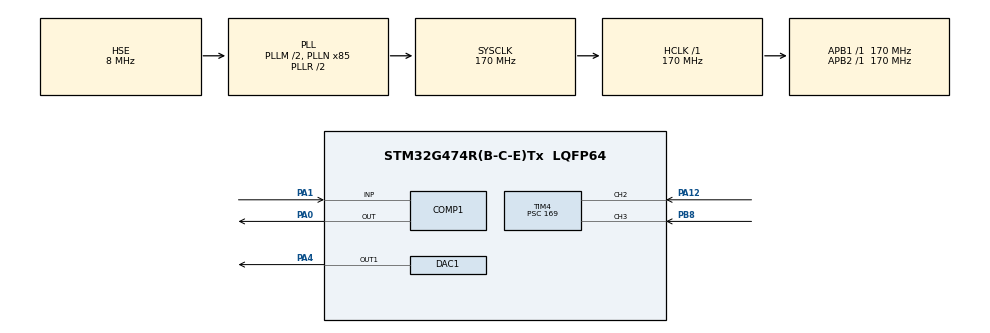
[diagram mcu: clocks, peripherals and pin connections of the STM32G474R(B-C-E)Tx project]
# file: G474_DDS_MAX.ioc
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COMP1.Hysteresis=COMP_HYSTERESIS_70MV
COMP1.OutputPol=COMP_OUTPUTPOL_NONINVERTED
COMP1.TriggerMode=COMP_TRIGGERMODE_EVENT_RISING
DAC1.DAC_Trigger_OUT1-DAC_OUT1=DAC_TRIGGER_T2_TRGO
Dma.DAC1_CH1.0.Direction=DMA_MEMORY_TO_PERIPH
Dma.DAC1_CH1.0.EventEnable=DISABLE
Dma.DAC1_CH1.0.Instance=DMA1_Channel1
Dma.DAC1_CH1.0.MemDataAlignment=DMA_MDATAALIGN_HALFWORD
Dma.DAC1_CH1.0.MemInc=DMA_MINC_ENABLE
Dma.DAC1_CH1.0.Mode=DMA_CIRCULAR
Dma.DAC1_CH1.0.PeriphDataAlignment=DMA_PDATAALIGN_WORD
Dma.DAC1_CH1.0.PeriphInc=DMA_PINC_DISABLE
Dma.DAC1_CH1.0.Polarity=HAL_DMAMUX_REQ_GEN_RISING
Dma.DAC1_CH1.0.Priority=DMA_PRIORITY_LOW
Dma.DAC1_CH1.0.RequestNumber=1
Dma.DAC1_CH1.0.SignalID=NONE
Dma.DAC1_CH1.0.SyncEnable=DISABLE
Dma.DAC1_CH1.0.SyncPolarity=HAL_DMAMUX_SYNC_NO_EVENT
Dma.DAC1_CH1.0.SyncRequestNumber=1
Dma.DAC1_CH1.0.SyncSignalID=NONE
Dma.Request0=DAC1_CH1
Mcu.Family=STM32G4
Mcu.Name=STM32G474R(B-C-E)Tx
Mcu.Package=LQFP64
NVIC.DMA1_Channel1_IRQn=true\:0\:0\:false\:false\:true\:false\:true\:true
NVIC.PriorityGroup=NVIC_PRIORITYGROUP_4
NVIC.TIM4_IRQn=true\:0\:0\:false\:false\:true\:true\:true\:true
PA0.Mode=ExternalOutput
PA0.Signal=COMP1_OUT
PA1.Mode=INP
PA1.Signal=COMP1_INP
PA12.Signal=S_TIM4_CH2
PA13.Mode=Serial_Wire
PA13.Signal=SYS_JTMS-SWDIO
PA14.Mode=Serial_Wire
PA14.Signal=SYS_JTCK-SWCLK
PA4.Signal=COMP_DAC11_group
PB8-BOOT0.Signal=S_TIM4_CH3
PF0-OSC_IN.Mode=HSE-External-Oscillator
PF0-OSC_IN.Signal=RCC_OSC_IN
PF1-OSC_OUT.Mode=HSE-External-Oscillator
PF1-OSC_OUT.Signal=RCC_OSC_OUT
ProjectManager.HeapSize=0x200
ProjectManager.StackSize=0x400
ProjectManager.TargetToolchain=MDK-ARM V5.32
RCC.ADC12Freq_Value=170000000
RCC.ADC345Freq_Value=170000000
RCC.AHBFreq_Value=170000000
RCC.APB1Freq_Value=170000000
RCC.APB1TimFreq_Value=170000000
RCC.APB2Freq_Value=170000000
RCC.APB2TimFreq_Value=170000000
RCC.CortexFreq_Value=170000000
RCC.EXTERNAL_CLOCK_VALUE=12288000
RCC.HCLKFreq_Value=170000000
RCC.HSE_VALUE=8000000
RCC.HSI48_VALUE=48000000
RCC.HSI_VALUE=16000000
RCC.LSE_VALUE=32768
RCC.PLLM=RCC_PLLM_DIV2
RCC.PLLN=85
RCC.PLLSourceVirtual=RCC_PLLSOURCE_HSE
RCC.SYSCLKFreq_VALUE=170000000
RCC.SYSCLKSource=RCC_SYSCLKSOURCE_PLLCLK
RCC.USBFreq_Value=170000000
RCC.VCOOutputFreq_Value=340000000
SH.COMP_DAC11_group.0=DAC1_OUT1,DAC_OUT1
SH.S_TIM4_CH2.0=TIM4_CH2,Input_Capture2_from_TI2
SH.S_TIM4_CH3.0=TIM4_CH3,Input_Capture3_from_TI3
TIM2.PeriodNoDither=9
TIM2.Prescaler=169
TIM2.TIM_MasterOutputTrigger=TIM_TRGO_UPDATE
TIM4.Channel-Input_Capture2_from_TI2=TIM_CHANNEL_2
TIM4.Channel-Input_Capture3_from_TI3=TIM_CHANNEL_3
TIM4.ICFilter_CH3=10
TIM4.ICPrescaler-Input_Capture3_from_TI3=TIM_ICPSC_DIV1
TIM4.Prescaler=169
VP_COMP1_VS_VREFINT.Mode=VREFINT
VP_DAC3_VS_DACI1.Mode=DAC_OUT1_Int
VP_SYS_VS_DBSignals.Mode=DisableDeadBatterySignals
VP_TIM2_VS_ClockSourceINT.Mode=Internal
VP_TIM4_VS_ClockSourceINT.Mode=Internal
board=custom

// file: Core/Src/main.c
/* USER CODE BEGIN Header */
/**
  ******************************************************************************
  * @file           : main.c
  * @brief          : Main program body
  ******************************************************************************
  * @attention
  *
  * Copyright (c) 2026 STMicroelectronics.
  * All rights reserved.
  *
  * This software is licensed under terms that can be found in the LICENSE file
  * in the root directory of this software component.
  * If no LICENSE file comes with this software, it is provided AS-IS.
  *
  ******************************************************************************
  */
/* USER CODE END Header */
#include "main.h"
#include "comp.h"
#include "dac.h"
#include "dma.h"
#include "tim.h"
#include "gpio.h"

/* USER CODE BEGIN Includes */
#include "ddac.h"
/* USER CODE END Includes */

/* USER CODE BEGIN PV */
uint32_t tick = 0;

/* USER CODE END PV */

void SystemClock_Config(void);

int main(void)
{

  /* MCU Configuration--------------------------------------------------------*/

  /* Reset of all peripherals, Initializes the Flash interface and the Systick. */
  HAL_Init();

  /* Configure the system clock */
  SystemClock_Config();

  /* Initialize all configured peripherals */
  MX_GPIO_Init();
  MX_DMA_Init();
  MX_DAC1_Init();
  MX_TIM2_Init();
  MX_TIM4_Init();
  MX_COMP1_Init();
  MX_DAC3_Init();
  /* USER CODE BEGIN 2 */
    HAL_COMP_Start(&hcomp1);
    DDS_Init(&dds_handler);
	DDS_Start(&dds_handler);
	__HAL_TIM_DISABLE_IT(&htim4, TIM_IT_UPDATE);
	HAL_TIM_IC_Start_IT(&htim4, TIM_CHANNEL_3);
  /* USER CODE END 2 */

  /* Infinite loop */
  while (1)
  {

  }
}

void SystemClock_Config(void)
{
  RCC_OscInitTypeDef RCC_OscInitStruct = {0};
  RCC_ClkInitTypeDef RCC_ClkInitStruct = {0};

  /** Configure the main internal regulator output voltage
  */
  HAL_PWREx_ControlVoltageScaling(PWR_REGULATOR_VOLTAGE_SCALE1_BOOST);

  /** Initializes the RCC Oscillators according to the specified parameters
  * in the RCC_OscInitTypeDef structure.
  */
  RCC_OscInitStruct.OscillatorType = RCC_OSCILLATORTYPE_HSE;
  RCC_OscInitStruct.HSEState = RCC_HSE_ON;
  RCC_OscInitStruct.PLL.PLLState = RCC_PLL_ON;
  RCC_OscInitStruct.PLL.PLLSource = RCC_PLLSOURCE_HSE;
  RCC_OscInitStruct.PLL.PLLM = RCC_PLLM_DIV2;
  RCC_OscInitStruct.PLL.PLLN = 85;
  RCC_OscInitStruct.PLL.PLLP = RCC_PLLP_DIV2;
  RCC_OscInitStruct.PLL.PLLQ = RCC_PLLQ_DIV2;
  RCC_OscInitStruct.PLL.PLLR = RCC_PLLR_DIV2;
  if (HAL_RCC_OscConfig(&RCC_OscInitStruct) != HAL_OK)
  {
    Error_Handler();
  }

  /** Initializes the CPU, AHB and APB buses clocks
  */
  RCC_ClkInitStruct.ClockType = RCC_CLOCKTYPE_HCLK|RCC_CLOCKTYPE_SYSCLK
                              |RCC_CLOCKTYPE_PCLK1|RCC_CLOCKTYPE_PCLK2;
  RCC_ClkInitStruct.SYSCLKSource = RCC_SYSCLKSOURCE_PLLCLK;
  RCC_ClkInitStruct.AHBCLKDivider = RCC_SYSCLK_DIV1;
  RCC_ClkInitStruct.APB1CLKDivider = RCC_HCLK_DIV1;
  RCC_ClkInitStruct.APB2CLKDivider = RCC_HCLK_DIV1;

  if (HAL_RCC_ClockConfig(&RCC_ClkInitStruct, FLASH_LATENCY_4) != HAL_OK)
  {
    Error_Handler();
  }
}

/* USER CODE BEGIN 4 */
void HAL_TIM_IC_CaptureCallback(TIM_HandleTypeDef *htim)
{

	if(htim->Instance==TIM4)
	{
		if(htim->Channel == HAL_TIM_ACTIVE_CHANNEL_3)
        {
		   tick ++;
		   if(tick>=500)
		   {
			tick = 0;
			DDS_REStart(&dds_handler);
		   }
	    }
    }
	 if(__HAL_TIM_GET_FLAG(htim, TIM_FLAG_CC3))
        {
            __HAL_TIM_CLEAR_FLAG(htim, TIM_FLAG_CC3);
        }
}
/* USER CODE END 4 */

void Error_Handler(void)
{
  __disable_irq();
  while (1)
  {
  }
}
